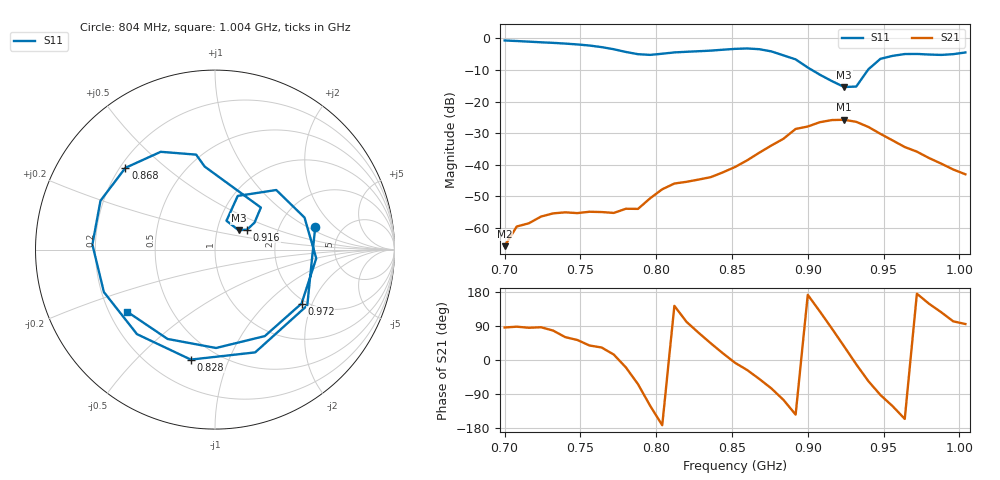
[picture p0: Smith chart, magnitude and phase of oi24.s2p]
# Hz S RI R 50
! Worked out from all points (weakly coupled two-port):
!   39 points, 700 MHz to 1.004 GHz, reference 50 ohm
!   highest |S21| = -25.76 dB at 924 MHz (marker M1); lowest = -65.8 dB at 700 MHz (marker M2)
!   lowest |S11| = -15.4 dB at 924 MHz (marker M3), VSWR 1.41, Z = 63.4 + j14.1 ohm
!   |S11| at or under -10 dB: 902.8 MHz to 939.7 MHz (36.86 MHz wide, 4 % of centre)
!   S12 and S22 are empty: the file has one direction only
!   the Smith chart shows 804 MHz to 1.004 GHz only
!   S11 on the Smith chart (normalised r, x): 804 MHz: 3.18, +1.20; 828 MHz: 0.36, -0.74; 868 MHz: 0.22, +0.37; 916 MHz: 1.39, +0.32; 972 MHz: 1.89, -1.68; 1.004 GHz: 0.27, -0.30
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7e8  0.765 0.527  3.75e-05 0.000513  0 0  0 0
7.24e8  0.8282 -0.2599  9.36e-05 0.00151  0 0  0 0
7.4e8  0.4444 -0.6997  0.000872 0.00153  0 0  0 0
7.56e8  -0.1979 -0.7461  0.00142 0.00112  0 0  0 0
7.72e8  -0.6489 -0.185  0.00167 0.00043  0 0  0 0
7.8e8  -0.5647 0.233  0.00189 -0.00067  0 0  0 0
7.88e8  -0.2124 0.5216  0.000885 -0.00179  0 0  0 0
7.96e8  0.2619 0.4828  -0.0015 -0.00253  0 0  0 0
8.04e8  0.5585 0.1267  -0.00405 -0.000557  0 0  0 0
8.2e8  0.2238 -0.5727  -0.001 0.00527  0 0  0 0
8.28e8  -0.1348 -0.6128  0.00182 0.00554  0 0  0 0
8.52e8  -0.6831 0.0282  0.00913 -0.00117  0 0  0 0
8.68e8  -0.4993 0.4553  0.00998 -0.0119  0 0  0 0
8.84e8  -0.1051 0.5291  -0.00683 -0.0249  0 0  0 0
9.08e8  0.2201 0.1503  -0.0291 0.0372  0 0  0 0
9.16e8  0.179 0.1113  0.00663 0.0506  0 0  0 0
9.24e8  0.1314 0.1081  0.0418 0.0302  0 0  0 0
9.4e8  0.1266 0.2992  0.0223 -0.0328  0 0  0 0
9.56e8  0.4989 0.1784  -0.0128 -0.0206  0 0  0 0
9.72e8  0.4822 -0.3005  -0.0161 0.00141  0 0  0 0
9.88e8  0.0057 -0.5482  -0.00617 0.00842  0 0  0 0
1.004e9  -0.4904 -0.3453  -0.000614 0.00704  0 0  0 0
